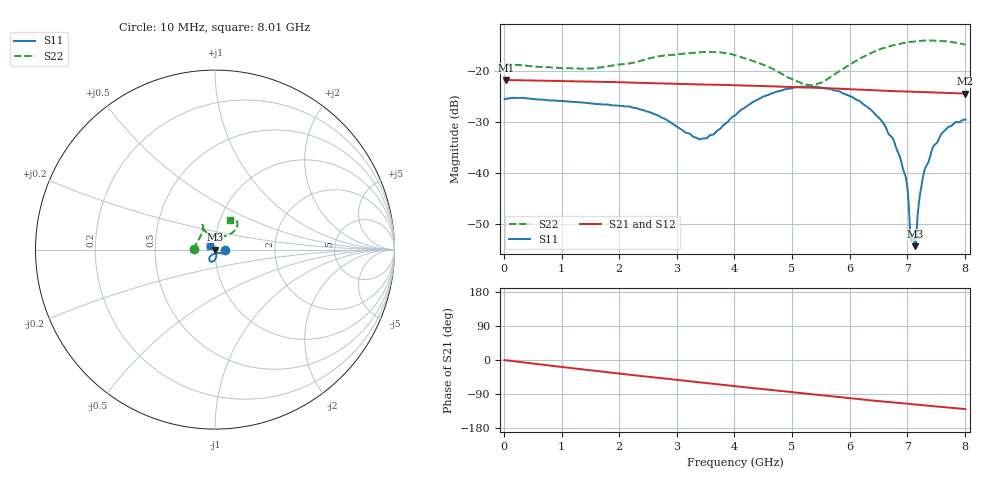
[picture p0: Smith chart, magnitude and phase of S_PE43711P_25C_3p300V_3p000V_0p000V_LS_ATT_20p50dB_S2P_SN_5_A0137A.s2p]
! Device ID: PE43711P
! File Path: z:\PE43711P\CHAR_NOM_04282014\AMB\3p300\LS_ATT_20p50dB\PE43711P_AMB_3p300V_3p000V_0p000V_LS_ATT_20p50dB_S2P_SN_5_A0137A.s2p
! Serial: 5
! Lot: A0137A
! Temp: 25C
! VDD: 3.300
! VSS: 0.000
! Control_Hi: 3.000
! Control_Lo: 0.000
! Attenuation Step: 20.50dB
! Port 1: RF1
! Port 2: RF2
! ThroughPath:1-2
! IDD: 0.0001273255
! ISS: -1.943e-007
#  Hz  S  RI  R  50
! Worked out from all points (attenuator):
!   801 points, 10 MHz to 8.01 GHz, reference 50 ohm
!   highest |S21| = -21.70 dB at 30 MHz (marker M1); lowest = -24.4 dB at 8.01 GHz (marker M2)
!   lowest |S11| = -54.4 dB at 7.14 GHz (marker M3), VSWR 1.00, Z = 49.8 - j0.0207 ohm
!   |S11| at or under -10 dB: start of sweep to end of sweep
!   |S22| runs from -22.7 to -13.9 dB; largest |S21 - S12| = 0.00018
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1e7  0.0532 0.000174  0.0822 -0.000365  0.0823 -0.000393  -0.1186 0.000961
3e7  0.0537 6.28e-05  0.0822 -0.000838  0.0822 -0.000862  -0.118 0.00201
1.35e9  0.0458 -0.0186  0.0726 -0.033  0.0727 -0.0331  -0.0913 0.0544
2.68e9  0.031 -0.0198  0.052 -0.056  0.052 -0.056  -0.0657 0.1247
3.41e9  0.00557 -0.0207  0.0381 -0.0639  0.0382 -0.0639  -0.0695 0.1382
4.01e9  -0.0197 -0.0313  0.0262 -0.0683  0.0262 -0.0683  -0.0748 0.1239
4.67e9  -0.0321 -0.0523  0.0126 -0.0701  0.0126 -0.0701  -0.0461 0.0951
5.35e9  -0.022 -0.0667  -0.000629 -0.0691  -0.000625 -0.0692  0.0125 0.0719
6.17e9  0.00294 -0.051  -0.0154 -0.0644  -0.0155 -0.0645  0.0955 0.093
6.53e9  0.00764 -0.033  -0.021 -0.0613  -0.021 -0.0614  0.1179 0.1168
6.68e9  0.00661 -0.0232  -0.0229 -0.06  -0.0229 -0.0601  0.122 0.1272
6.78e9  0.00643 -0.0188  -0.0243 -0.0592  -0.0242 -0.0592  0.1243 0.1337
6.95e9  0.00265 -0.00971  -0.0265 -0.0577  -0.0264 -0.0577  0.1246 0.144
6.99e9  0.00288 -0.00763  -0.027 -0.0573  -0.027 -0.0574  0.1251 0.146
7.04e9  0.00119 -0.00329  -0.0277 -0.0569  -0.0276 -0.0569  0.1248 0.1499
7.08e9  -0.00124 -0.00189  -0.0282 -0.0565  -0.0281 -0.0565  0.1237 0.1519
7.11e9  -0.00191 -0.00157  -0.0286 -0.0562  -0.0285 -0.0563  0.1232 0.1532
7.14e9  -0.00189 -0.000207  -0.029 -0.056  -0.0289 -0.056  0.123 0.1548
7.27e9  -0.00592 0.00662  -0.0306 -0.0547  -0.0306 -0.0547  0.1195 0.1617
7.44e9  -0.0115 0.0132  -0.0326 -0.0529  -0.0327 -0.0529  0.1114 0.1677
7.68e9  -0.0194 0.0191  -0.0352 -0.0503  -0.0352 -0.0503  0.0987 0.1714
8.01e9  -0.0258 0.0214  -0.0384 -0.0468  -0.0386 -0.0467  0.083 0.1639
